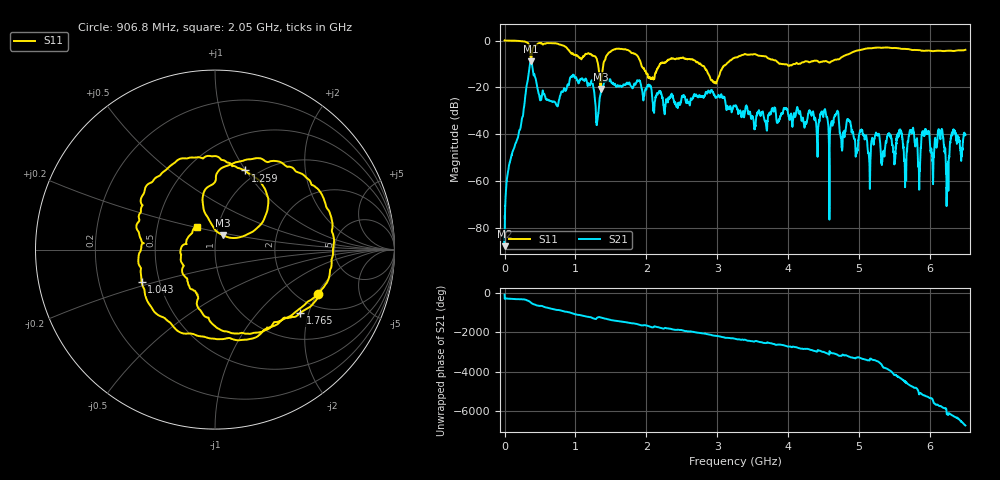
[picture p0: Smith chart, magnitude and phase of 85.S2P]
!Keysight Technologies,E5063A,MY54503115,A.05.08
!Date: Mon Dec 11 14:59:51 2023
!Data & Calibration Information:
!Freq	S11:NONE(--)	S21:NONE(--)	S12:NONE(--)	S22:NONE(--)
# Hz S dB R 50
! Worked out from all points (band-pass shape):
!   10001 points, 100 kHz to 6.5 GHz, reference 50 ohm
!   highest |S21| = -8.89 dB at 373.8 MHz (marker M1); lowest = -87.8 dB at 100 kHz (marker M2)
!   |S21| within 3 dB of the highest: 347.7 MHz to 394 MHz (46.32 MHz wide, 12.5 % of centre)
!   lowest |S11| = -20.7 dB at 1.353 GHz (marker M3), VSWR 1.20, Z = 53.9 + j8.79 ohm
!   |S11| at or under -10 dB: 1.925 GHz to 2.191 GHz (265.7 MHz wide, 12.9 % of centre); 2.765 GHz to 3.129 GHz (363.6 MHz wide, 12.3 % of centre); 3.913 GHz to 4.073 GHz (160.2 MHz wide, 4.01 % of centre) (the widest 3 of 9)
!   S12 and S22 are empty: the file has one direction only
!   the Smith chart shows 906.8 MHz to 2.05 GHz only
!   S11 on the Smith chart (normalised r, x): 906.8 MHz: 2.52, -2.02; 1.043 GHz: 0.40, -0.18; 1.259 GHz: 0.88, +0.99; 1.765 GHz: 1.63, -1.76; 2.05 GHz: 0.79, +0.21
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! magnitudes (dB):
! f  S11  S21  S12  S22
! 100 kHz  0.1  -87.8  -  -
! 373.8 MHz  -8.9  -8.9  -  -
! 724.8 MHz  -1.2  -27.3  -  -
! 906.8 MHz  -4.1  -18.9  -  -
! 1.043 GHz  -7.0  -18.3  -  -
! 1.084 GHz  -8.0  -16.3  -  -
! 1.259 GHz  -6.5  -21.1  -  -
! 1.353 GHz  -20.7  -22.8  -  -
! 1.765 GHz  -4.6  -18.3  -  -
! 2.05 GHz  -15.8  -19.2  -  -
! 2.167 GHz  -11.3  -22.4  -  -
! 3.25 GHz  -7.3  -27.9  -  -
! 4.334 GHz  -8.8  -31.1  -  -
! 5.144 GHz  -3.3  -51.5  -  -
! 5.417 GHz  -3.0  -40.1  -  -
! 5.65 GHz  -3.5  -60.7  -  -
! 5.745 GHz  -4.0  -39.0  -  -
! 5.845 GHz  -4.1  -56.8  -  -
! 6.147 GHz  -4.3  -42.1  -  -
! 6.243 GHz  -4.4  -57.7  -  -
! 6.323 GHz  -4.4  -39.1  -  -
! 6.5 GHz  -4.0  -40.3  -  -
